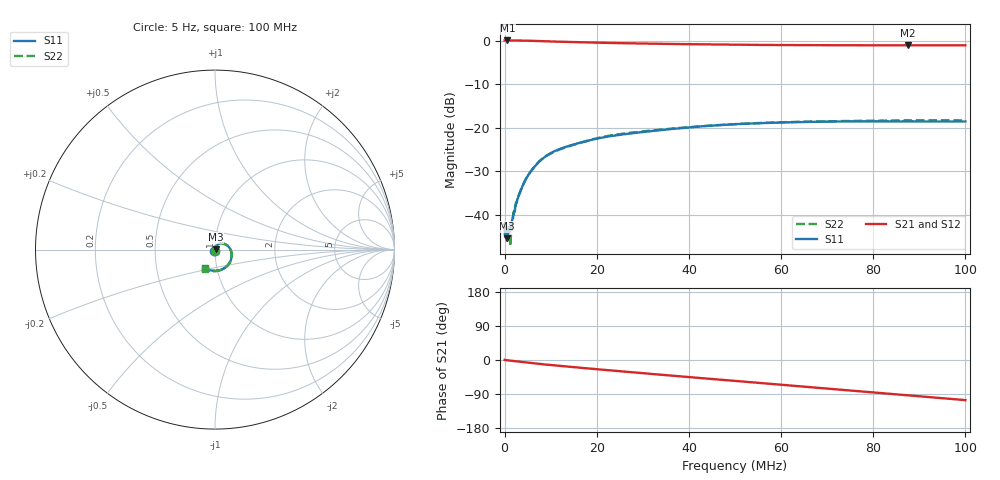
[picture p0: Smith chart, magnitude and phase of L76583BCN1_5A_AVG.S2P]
!Agilent Technologies,E5061B,MY49102235,A.02.00
!Date: Tue Jul 11 14:51:46 2023
!Data & Calibration Information:
!Freq	S11:SOLT2(ON)	S21:SOLT2(ON)	S12:SOLT2(ON)	S22:SOLT2(ON)
# Hz S RI R 50
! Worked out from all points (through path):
!   1600 points, 5 Hz to 100 MHz, reference 50 ohm
!   highest |S21| = 0.02 dB at 625.4 kHz (marker M1); lowest = -1.1 dB at 87.55 MHz (marker M2)
!   group delay of S21, straight-line fit = 2.86 ns
!   lowest |S11| = -45.4 dB at 500.3 kHz (marker M3), VSWR 1.01, Z = 50.5 + j0.266 ohm
!   |S11| at or under -10 dB: start of sweep to end of sweep
!   |S22| runs from -47.2 to -18.3 dB; largest |S21 - S12| = 0.0026
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5  -0.00521 -0.00562  1.002 0.008  1 0.0102  -0.00149 -0.00756
500317.7  0.0047 0.00263  1.001 -0.011  1.002 -0.0108  0.00493 0.00102
625395.8  0.00525 0.00319  1.002 -0.0144  1.002 -0.0139  0.00626 0.0028
938091.3  0.00466 0.00531  1.001 -0.0209  1.001 -0.0205  0.00622 0.00473
1313326  0.00502 0.00578  1.001 -0.0296  1 -0.0297  0.0032 0.00422
1688560  0.0046 0.00756  0.9999 -0.0397  1.001 -0.0397  0.00431 0.00674
2063795  0.00418 0.0102  1 -0.0489  0.9998 -0.0491  0.00459 0.00999
2376490  0.00467 0.0117  0.9985 -0.0561  0.999 -0.0562  0.00531 0.012
2939342  0.00642 0.0147  0.9976 -0.07  0.9969 -0.0699  0.00534 0.0151
3502194  0.00746 0.0174  0.9956 -0.0834  0.9954 -0.0832  0.00654 0.0181
4752975  0.011 0.0241  0.9901 -0.1137  0.9901 -0.1134  0.0106 0.0244
6316452  0.0177 0.0302  0.9806 -0.1492  0.9803 -0.1493  0.0171 0.0303
8255164  0.0275 0.0346  0.9652 -0.1909  0.965 -0.1907  0.0273 0.0351
1.044403e7  0.0389 0.0353  0.946 -0.2327  0.9459 -0.2322  0.0381 0.0354
1.669794e7  0.0623 0.0271  0.8913 -0.3374  0.8911 -0.3372  0.062 0.027
2.332708e7  0.0797 0.0116  0.8293 -0.4372  0.829 -0.437  0.0813 0.0105
3.333334e7  0.0914 -0.0192  0.7214 -0.5684  0.7213 -0.5681  0.0923 -0.0203
5.003127e7  0.081 -0.074  0.5117 -0.7352  0.5116 -0.7349  0.0807 -0.075
6.672921e7  0.0375 -0.1106  0.2756 -0.841  0.2759 -0.8408  0.0381 -0.1115
8.33646e7  -0.0114 -0.1177  0.0201 -0.8819  0.0201 -0.8819  -0.0114 -0.1202
8.755472e7  -0.0232 -0.1158  -0.0462 -0.8807  -0.0461 -0.8807  -0.0234 -0.1189
1e8  -0.055 -0.1045  -0.2423 -0.8485  -0.2421 -0.8484  -0.0554 -0.1076
